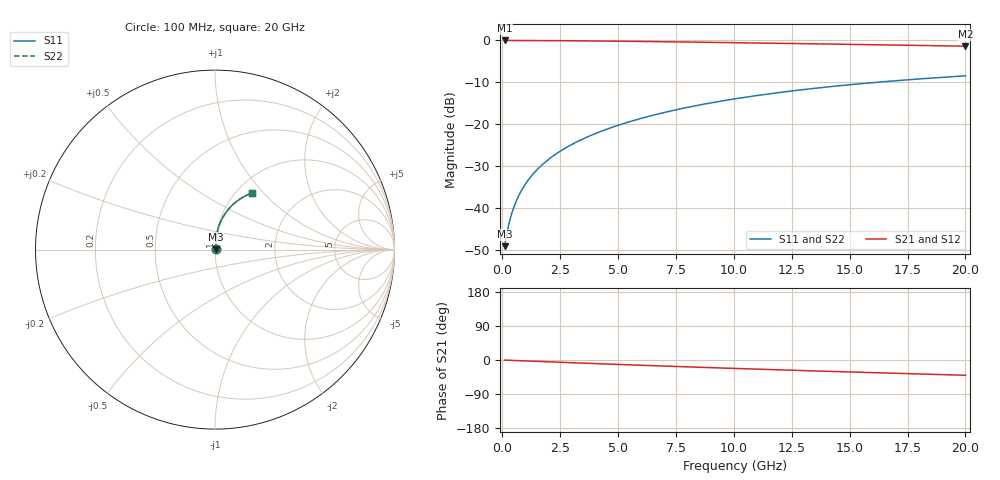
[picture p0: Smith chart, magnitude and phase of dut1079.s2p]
! Touchstone file exported from HFSS 2024.1.0
!  File:  C:/UserFiles/LocalFiles/RDL_TSV_Batchsim/temp_RDL_bottom_1079_1780053084.aedt
!  Generated:  07:14:05 PM May 29, 2026
!  Design:  RDL_bottom
!  Project:  temp_RDL_bottom_1079_1780053084
!  Setup:  Setup1
!  Solution:  Sweep
! Variables:
!  dtsv = 10.80580581um
!  hbump = 3um
!  htsv = 81.66um
!  ldown = 553um
!  lrdl = 100um
!  p = 40
!  p1 = 51.98um
!  rhole = 1um
!  t = 450um
!  tdown = 3.48um
!  trdl = 3.915915916um
!  wdown = 21.59um
!  wrdl = 20um
# GHz S MA R 50.000000
! Terminal data exported
! Port[1] = RDL1_T1
! Port[2] = RDL1_T2
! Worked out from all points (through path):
!   200 points, 100 MHz to 20 GHz, reference 50 ohm
!   highest |S21| = -0.02 dB at 100 MHz (marker M1); lowest = -1.4 dB at 20 GHz (marker M2)
!   group delay of S21, straight-line fit = 5.55 ps
!   lowest |S11| = -49.2 dB at 100 MHz (marker M3), VSWR 1.01, Z = 50.3 + j0.206 ohm
!   |S11| at or under -10 dB: start of sweep to 16.22 GHz
!   |S22| runs from -49.2 to -8.5 dB; largest |S21 - S12| = 3.2e-15
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0.1  0.003473 36.2  0.9972 -0.3  0.9972 -0.3  0.003473 36.2
! Gamma 0 0 0 0
! Port Impedance 50 0 50 0
0.2  0.004986 54.0  0.997 -0.5  0.997 -0.5  0.004986 54.0
0.3  0.006692 62.7  0.9969 -0.7  0.9969 -0.7  0.006692 62.7
0.4  0.008439 67.7  0.9967 -1.0  0.9967 -1.0  0.008439 67.7
0.5  0.0102 71.1  0.9965 -1.2  0.9965 -1.2  0.0102 71.1
0.6  0.01198 73.6  0.9964 -1.5  0.9964 -1.5  0.01198 73.6
0.8  0.01557 76.9  0.996 -1.9  0.996 -1.9  0.01557 76.9
1.1  0.02104 79.8  0.9955 -2.7  0.9955 -2.7  0.02104 79.8
1.3  0.02473 81.0  0.995 -3.1  0.995 -3.1  0.02473 81.0
1.6  0.0303 82.2  0.9943 -3.9  0.9943 -3.9  0.0303 82.2
2.1  0.03971 83.3  0.9927 -5.1  0.9927 -5.1  0.03971 83.2
2.7  0.05116 83.8  0.9903 -6.5  0.9903 -6.5  0.05115 83.8
3.5  0.0667 83.8  0.9865 -8.3  0.9865 -8.3  0.06668 83.8
4.2  0.08053 83.4  0.9825 -9.9  0.9825 -9.9  0.08052 83.4
5  0.0966 82.8  0.9774 -11.7  0.9774 -11.7  0.09657 82.7
5.9  0.1149 81.7  0.9711 -13.7  0.9711 -13.7  0.1149 81.7
6.8  0.1334 80.5  0.9644 -15.6  0.9644 -15.6  0.1334 80.4
8.4  0.1664 77.9  0.9518 -19.0  0.9518 -19.0  0.1663 77.9
10.1  0.2011 74.9  0.9377 -22.4  0.9377 -22.4  0.201 74.8
13.4  0.2656 68.8  0.9096 -28.7  0.9096 -28.7  0.2654 68.7
16.7  0.3244 62.7  0.881 -34.6  0.881 -34.6  0.3242 62.6
20  0.3767 56.9  0.8525 -40.2  0.8525 -40.2  0.3764 56.8
